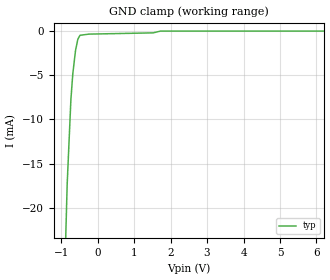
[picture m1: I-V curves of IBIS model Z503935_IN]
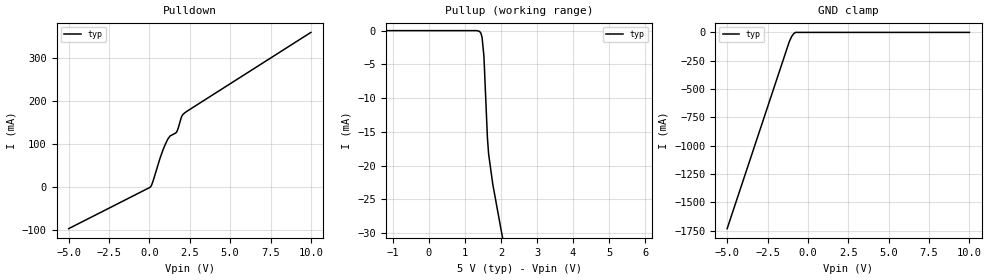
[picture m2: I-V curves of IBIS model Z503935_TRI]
| YOU ARE ONLY AUTHORIZED TO USE THIS SOFTWARE
| ACCORDING TO LICENSOR'S LICENSE RESTRICTIONS.
[IBIS Ver] 3.1
[File Name] mc54f373j.ibs
[File Rev] 2.0
[Source] Measured and created by ICX Technology
[Date] Friday 7/14/00 9:08:03 AM
[Copyright]
| (C) COPYRIGHT 1993-2000
| MENTOR GRAPHICS CORPORATION
| ICX STANDARD LIBRARY, ICX PROJECT MODELING,
| ICX CUSTOM MODELING, ICX VENDOR MODEL
| ALL RIGHTS RESERVED.
| THE FOLLOWING ARE TRADEMARKS OR SERVICE MARKS OF
| MENTOR GRAPHICS CORPORATION:ICX (R), ICX STANDARD
| LIBRARY(R), ICX PROJECT MODELING(R), ICX CUSTOM
| MODELING(R), qualityIBIS(TM), MODELVIEWER(TM),
| AND MODELEDITOR(TM)
| ALL COPIES OF SOFTWARE, INCLUDING BUT NOT LIMITED TO
| ANY MODIFICATIONS, ENHANCEMENTS OR DERIVATIVE WORKS,
| MUST CONTAIN ALL MENTOR GRAPHICS CORPORATION'S
| NOTICES AND LEGENDS, INCLUDING THOSE EMBEDDED IN
| SOFTWARE AND THOSE AFFIXED TO SOFTWARE MEDIUM
| AND CONTAINER, AS RECEIVED FROM MENTOR GRAPHICS
| CORPORATION.
|  ZAP Model Builder 2.7
[Component] MC54F373J
[Manufacturer] OnSemiconductor
[Package]
| variable   typ   min   max
R_pkg  .178ohms NA NA
L_pkg  4.43nH NA NA
C_pkg  .62pF NA NA
[Pin] signal_name  model_name  R_pin  L_pin C_pin
1 _G Z503935_IN .186 5.37n .68p
2 Q0 Z503935_TRI .182 4.89n .65p
3 D0 Z503935_IN .178 4.42n .62p
4 D1 Z503935_IN .174 3.96n .59p
5 Q1 Z503935_TRI .17 3.51n .56p
6 Q2 Z503935_TRI .17 3.51n .56p
7 D2 Z503935_IN .174 3.96n .59p
8 D3 Z503935_IN .178 4.42n .62p
9 Q3 Z503935_TRI .182 4.89n .65p
10 GND GND .186 5.37n .68p
11 C Z503935_IN .186 5.37n .68p
12 Q4 Z503935_TRI .182 4.89n .65p
13 D4 Z503935_IN .178 4.42n .62p
14 D5 Z503935_IN .174 3.96n .59p
15 Q5 Z503935_TRI .17 3.51n .56p
16 Q6 Z503935_TRI .17 3.51n .56p
17 D6 Z503935_IN .174 3.96n .59p
18 D7 Z503935_IN .178 4.42n .62p
19 Q7 Z503935_TRI .182 4.89n .65p
20 VCC POWER .186 5.37n .68p
| Models and submodels in the file (2): Z503935_IN (Input), Z503935_TRI (3-state)
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| (C) COPYRIGHT 1993-2000
| MENTOR GRAPHICS CORPORATION
| ICX STANDARD LIBRARY, ICX PROJECT MODELING,
| ICX CUSTOM MODELING, ICX VENDOR MODEL
| ALL RIGHTS RESERVED.
| THE FOLLOWING ARE TRADEMARKS OR SERVICE MARKS OF
| MENTOR GRAPHICS CORPORATION:ICX (R), ICX STANDARD
| LIBRARY(R), ICX PROJECT MODELING(R), ICX CUSTOM
| MODELING(R), qualityIBIS(TM), MODELVIEWER(TM),
| AND MODELEDITOR(TM)
| ALL COPIES OF SOFTWARE, INCLUDING BUT NOT LIMITED TO
| ANY MODIFICATIONS, ENHANCEMENTS OR DERIVATIVE WORKS,
| MUST CONTAIN ALL MENTOR GRAPHICS CORPORATION'S
| NOTICES AND LEGENDS, INCLUDING THOSE EMBEDDED IN
| SOFTWARE AND THOSE AFFIXED TO SOFTWARE MEDIUM
| AND CONTAINER, AS RECEIVED FROM MENTOR GRAPHICS
| CORPORATION.
| Model Application Version 1.89 2/18/99.
[Model] Z503935_IN
Model_type Input
Vinl = 800.0mV
Vinh = 2.000V
C_comp 4.000pF NA NA
| variable typ   min   max
[Voltage Range] 5.000V NA NA
[GND Clamp Reference] 0.000V NA NA
[POWER Clamp Reference] 5.000V NA NA
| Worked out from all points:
|   GND clamp passes 1 mA (typ) near -0.55 V on its own axis
[GND Clamp]
-5V       -647.4mA   NA         NA
-833.7mV  -17.31mA   NA         NA
-731.5mV  -7.714mA   NA         NA
-680.5mV  -4.876mA   NA         NA
-605.5mV  -2.206mA   NA         NA
-541.6mV  -929.3uA   NA         NA
-482.6mV  -484.1uA   NA         NA
-241.3mV  -347.7uA   NA         NA
1.525V    -206.6uA   NA         NA
1.723V    -5.668uA   NA         NA
10V       -5.668uA   NA         NA
[POWER Clamp]
-5V       0A         NA         NA
10V       0A         NA         NA
| (C) COPYRIGHT 1993-2000
| MENTOR GRAPHICS CORPORATION
| ICX STANDARD LIBRARY, ICX PROJECT MODELING,
| ICX CUSTOM MODELING, ICX VENDOR MODEL
| ALL RIGHTS RESERVED.
| THE FOLLOWING ARE TRADEMARKS OR SERVICE MARKS OF
| MENTOR GRAPHICS CORPORATION:ICX (R), ICX STANDARD
| LIBRARY(R), ICX PROJECT MODELING(R), ICX CUSTOM
| MODELING(R), qualityIBIS(TM), MODELVIEWER(TM),
| AND MODELEDITOR(TM)
| ALL COPIES OF SOFTWARE, INCLUDING BUT NOT LIMITED TO
| ANY MODIFICATIONS, ENHANCEMENTS OR DERIVATIVE WORKS,
| MUST CONTAIN ALL MENTOR GRAPHICS CORPORATION'S
| NOTICES AND LEGENDS, INCLUDING THOSE EMBEDDED IN
| SOFTWARE AND THOSE AFFIXED TO SOFTWARE MEDIUM
| AND CONTAINER, AS RECEIVED FROM MENTOR GRAPHICS
| CORPORATION.
| Model Application Version 1.89 2/18/99.
[Model] Z503935_TRI
Model_type 3-state
Vref=0.000V
Rref=500.0ohms
Cref=50.00pF
Vmeas=1.500V
C_comp 8.000pF NA NA
| variable typ   min   max
[Voltage Range] 5.000V NA NA
[POWER Clamp Reference] 5.000V NA NA
[Pullup Reference] 5.000V NA NA
[Pulldown Reference] 0.000V NA NA
[GND Clamp Reference] 0.000V NA NA
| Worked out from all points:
|   slope of the pulldown table from 0 to 0.75 V, typ, clamps not added: 9.63 ohm
|   GND clamp passes 1 mA (typ) near -0.77 V on its own axis
[GND Clamp]
-5V       -1.731A    NA         NA
-1.152V   -81.5mA    NA         NA
-1.006V   -36.18mA   NA         NA
-858.9mV  -8.319mA   NA         NA
-763.5mV  0A         NA         NA
10V       0A         NA         NA
[Pulldown]
-5V       -96.98mA   NA         NA
48.83mV   -956.1uA   NA         NA
146.5mV   4.981mA    NA         NA
234.3mV   14.23mA    NA         NA
654.3mV   65.86mA    NA         NA
996.3mV   99.63mA    NA         NA
1.144V    111mA      NA         NA
1.279V    118mA      NA         NA
1.708V    128.4mA    NA         NA
1.968V    160.2mA    NA         NA
2.081V    168.2mA    NA         NA
10V       358.3mA    NA         NA
[Pullup]
-5V       8.321uA    NA         NA
1.326V    193nA      NA         NA
1.402V    -108.2uA   NA         NA
1.44V     -359.4uA   NA         NA
1.474V    -978.2uA   NA         NA
1.526V    -3.846mA   NA         NA
1.622V    -15.83mA   NA         NA
1.656V    -18.3mA    NA         NA
1.772V    -22.79mA   NA         NA
10V       -263.5mA   NA         NA
[POWER Clamp]
-5V       0A         NA         NA
10V       0A         NA         NA
[Ramp]
| variable typ min max
dV/dt_r 2.029/3.150n NA NA
dV/dt_f 2.029/1.339n NA NA
R_load = 500.0Ohms
